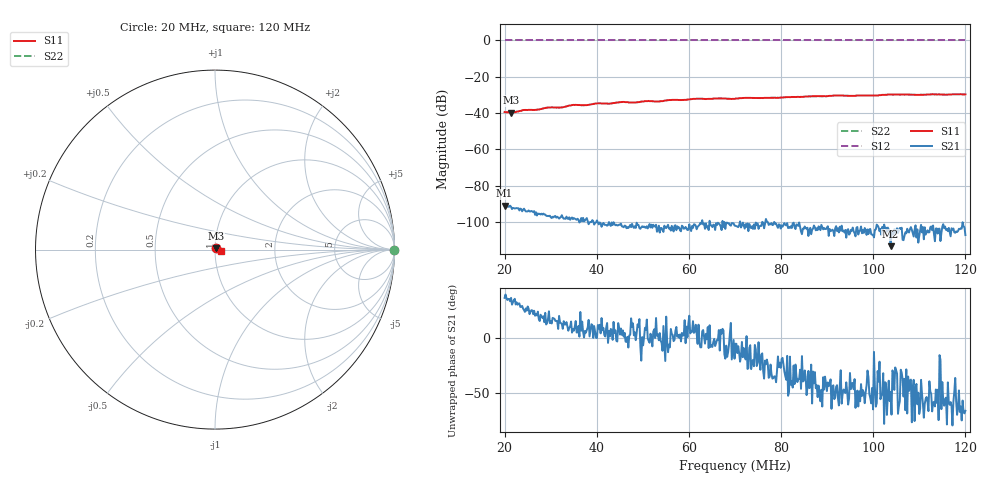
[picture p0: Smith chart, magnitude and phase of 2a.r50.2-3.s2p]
! Anritsu VNA Master:  Model: MS2036C/10/77
! SN:  1601066
! /bd0/18may26.balun/2a.r50.2.s2p
! Existing Calibration Information:
! TYPE:  Current Settings,  Active Cal Settings
! TIME:  05/26/2018 07:59:43 PM,  05/26/2018 07:26:54 PM
! INTERNAL TEMP:  45.5 C,  45.5 C
! # POINTS:  500,  500
! START FREQ:  20.000 MHz,  20.000 MHz
! STOP FREQ:  120.000 MHz,  120.000 MHz
! SOURCE POWER:  High,  High
! IFBW:  50 Hz,  50 Hz
! AVG FACTOR:  1 ,  1
! REF PLANE 1:  0 mm,  0 mm
! REF PLANE 2:  0 mm,  0 mm
! CAL TYPE:  Full S11,  Full S11
! CAL METHOD:  SOLT,  SOLT
! CAL LINE TYPE:  Coax,  Coax
! DUT PORT 1:  K-Conn(M),  K-Conn(M)
! DUT PORT 2:  K-Conn(M),  K-Conn(M)
! CAL STATUS:  OK: Accuracy High,  --
# GHZ S DB R 50.0
! FREQ.GHZ  S11DB  S11A  S21DB  S21A  S12DB  S12A  S22DB  S22A
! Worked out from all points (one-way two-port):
!   500 points, 20 MHz to 120 MHz, reference 50 ohm
!   highest |S21| = -90.99 dB at 20 MHz (marker M1); lowest = -113.4 dB at 103.8 MHz (marker M2)
!   lowest |S11| = -39.7 dB at 21.4 MHz (marker M3), VSWR 1.02, Z = 50.6 + j0.847 ohm
!   |S11| at or under -10 dB: start of sweep to end of sweep
!   |S22| runs from 0.0 to 0.0 dB; largest |S21 - S12| = 1
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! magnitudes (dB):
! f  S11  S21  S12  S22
! 20 MHz  -39.4  -91.0  0.0  0.0
! 21.4 MHz  -39.7  -91.7  0.0  0.0
! 24.21 MHz  -38.3  -92.7  0.0  0.0
! 27.21 MHz  -38.1  -95.3  0.0  0.0
! 29.42 MHz  -37.0  -96.7  0.0  0.0
! 32.22 MHz  -36.8  -97.2  0.0  0.0
! 34.83 MHz  -35.5  -98.5  0.0  0.0
! 36.83 MHz  -35.6  -99.6  0.0  0.0
! 40.04 MHz  -34.7  -99.2  0.0  0.0
! 42.85 MHz  -34.8  -101.5  0.0  0.0
! 45.45 MHz  -33.9  -102.5  0.0  0.0
! 48.06 MHz  -34.3  -103.3  0.0  0.0
! 50.86 MHz  -33.4  -102.4  0.0  0.0
! 53.47 MHz  -33.6  -102.1  0.0  0.0
! 56.07 MHz  -32.8  -104.8  0.0  0.0
! 61.48 MHz  -32.1  -102.1  0.0  0.0
! 70.1 MHz  -32.1  -102.1  0.0  0.0
! 86.73 MHz  -30.7  -104.3  0.0  0.0
! 100.6 MHz  -30.3  -104.1  0.0  0.0
! 103.4 MHz  -29.8  -104.3  0.0  0.0
! 103.8 MHz  -29.8  -113.4  0.0  0.0
! 120 MHz  -29.7  -107.2  0.0  0.0
